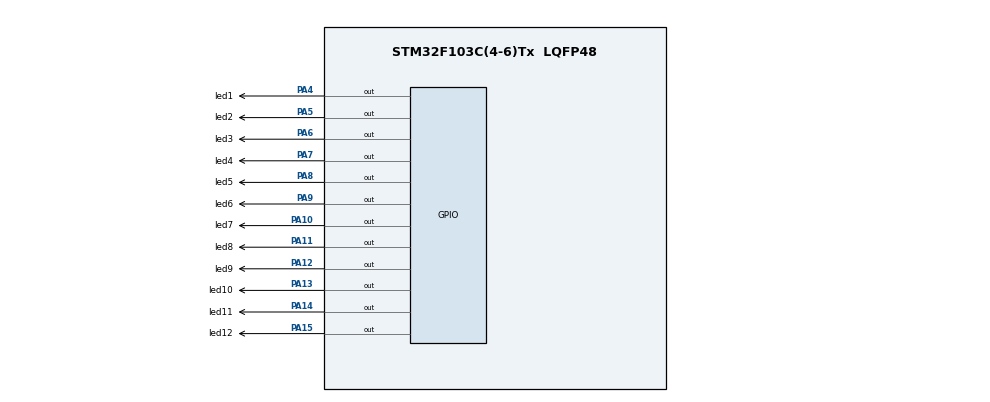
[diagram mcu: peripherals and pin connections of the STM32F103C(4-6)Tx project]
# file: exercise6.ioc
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Mcu.Family=STM32F1
Mcu.Name=STM32F103C(4-6)Tx
Mcu.Package=LQFP48
NVIC.PriorityGroup=NVIC_PRIORITYGROUP_4
PA10.GPIO_Label=led7
PA10.Signal=GPIO_Output
PA11.GPIO_Label=led8
PA11.Signal=GPIO_Output
PA12.GPIO_Label=led9
PA12.Signal=GPIO_Output
PA13.GPIO_Label=led10
PA13.Signal=GPIO_Output
PA14.GPIO_Label=led11
PA14.Signal=GPIO_Output
PA15.GPIO_Label=led12
PA15.Signal=GPIO_Output
PA4.GPIO_Label=led1
PA4.Signal=GPIO_Output
PA5.GPIO_Label=led2
PA5.Signal=GPIO_Output
PA6.GPIO_Label=led3
PA6.Signal=GPIO_Output
PA7.GPIO_Label=led4
PA7.Signal=GPIO_Output
PA8.GPIO_Label=led5
PA8.Signal=GPIO_Output
PA9.GPIO_Label=led6
PA9.Signal=GPIO_Output
ProjectManager.HeapSize=0x200
ProjectManager.StackSize=0x400
ProjectManager.TargetToolchain=STM32CubeIDE
RCC.APB1Freq_Value=8000000
RCC.APB2Freq_Value=8000000
board=custom

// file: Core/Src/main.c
/* USER CODE BEGIN Header */
/**
  ******************************************************************************
  * @file           : main.c
  * @brief          : Main program body
  ******************************************************************************
  * @attention
  *
  * Copyright (c) 2022 STMicroelectronics.
  * All rights reserved.
  *
  * This software is licensed under terms that can be found in the LICENSE file
  * in the root directory of this software component.
  * If no LICENSE file comes with this software, it is provided AS-IS.
  *
  ******************************************************************************
  */
/* USER CODE END Header */
#include "main.h"

void SystemClock_Config(void);
static void MX_GPIO_Init(void);

int main(void)
{

  /* MCU Configuration--------------------------------------------------------*/

  /* Reset of all peripherals, Initializes the Flash interface and the Systick. */
  HAL_Init();

  /* Configure the system clock */
  SystemClock_Config();

  /* Initialize all configured peripherals */
  MX_GPIO_Init();

  /* Infinite loop */
  /* USER CODE BEGIN WHILE */
  while (1)
  {
	  HAL_GPIO_WritePin(GPIOA, GPIO_PIN_4, 1);
	  HAL_Delay(1000);
	  HAL_GPIO_WritePin(GPIOA, GPIO_PIN_5, 1);
	  HAL_Delay(1000);
	  HAL_GPIO_WritePin(GPIOA, GPIO_PIN_6, 1);
	  HAL_Delay(1000);
	  HAL_GPIO_WritePin(GPIOA, GPIO_PIN_7, 1);
	  HAL_Delay(1000);
	  HAL_GPIO_WritePin(GPIOA, GPIO_PIN_8, 1);
	  HAL_Delay(1000);
	  HAL_GPIO_WritePin(GPIOA, GPIO_PIN_9, 1);
	  HAL_Delay(1000);
	  HAL_GPIO_WritePin(GPIOA, GPIO_PIN_10, 1);
	  HAL_Delay(1000);
	  HAL_GPIO_WritePin(GPIOA, GPIO_PIN_11, 1);
	  HAL_Delay(1000);
	  HAL_GPIO_WritePin(GPIOA, GPIO_PIN_12, 1);
	  HAL_Delay(1000);
	  HAL_GPIO_WritePin(GPIOA, GPIO_PIN_13, 1);
	  HAL_Delay(1000);
	  HAL_GPIO_WritePin(GPIOA, GPIO_PIN_14, 1);
	  HAL_Delay(1000);
	  HAL_GPIO_WritePin(GPIOA, GPIO_PIN_15, 1);
	  HAL_Delay(1000);
    /* USER CODE END WHILE */

  }
}

void SystemClock_Config(void)
{
  RCC_OscInitTypeDef RCC_OscInitStruct = {0};
  RCC_ClkInitTypeDef RCC_ClkInitStruct = {0};

  /** Initializes the RCC Oscillators according to the specified parameters
  * in the RCC_OscInitTypeDef structure.
  */
  RCC_OscInitStruct.OscillatorType = RCC_OSCILLATORTYPE_HSI;
  RCC_OscInitStruct.HSIState = RCC_HSI_ON;
  RCC_OscInitStruct.HSICalibrationValue = RCC_HSICALIBRATION_DEFAULT;
  RCC_OscInitStruct.PLL.PLLState = RCC_PLL_NONE;
  if (HAL_RCC_OscConfig(&RCC_OscInitStruct) != HAL_OK)
  {
    Error_Handler();
  }

  /** Initializes the CPU, AHB and APB buses clocks
  */
  RCC_ClkInitStruct.ClockType = RCC_CLOCKTYPE_HCLK|RCC_CLOCKTYPE_SYSCLK
                              |RCC_CLOCKTYPE_PCLK1|RCC_CLOCKTYPE_PCLK2;
  RCC_ClkInitStruct.SYSCLKSource = RCC_SYSCLKSOURCE_HSI;
  RCC_ClkInitStruct.AHBCLKDivider = RCC_SYSCLK_DIV1;
  RCC_ClkInitStruct.APB1CLKDivider = RCC_HCLK_DIV1;
  RCC_ClkInitStruct.APB2CLKDivider = RCC_HCLK_DIV1;

  if (HAL_RCC_ClockConfig(&RCC_ClkInitStruct, FLASH_LATENCY_0) != HAL_OK)
  {
    Error_Handler();
  }
}

static void MX_GPIO_Init(void)
{
  GPIO_InitTypeDef GPIO_InitStruct = {0};

  /* GPIO Ports Clock Enable */
  __HAL_RCC_GPIOA_CLK_ENABLE();

  /*Configure GPIO pin Output Level */
  HAL_GPIO_WritePin(GPIOA, led1_Pin|led2_Pin|led3_Pin|led4_Pin
                          |led5_Pin|led6_Pin|led7_Pin|led8_Pin
                          |led9_Pin|led10_Pin|led11_Pin|led12_Pin, GPIO_PIN_RESET);

  /*Configure GPIO pins : led1_Pin led2_Pin led3_Pin led4_Pin
                           led5_Pin led6_Pin led7_Pin led8_Pin
                           led9_Pin led10_Pin led11_Pin led12_Pin */
  GPIO_InitStruct.Pin = led1_Pin|led2_Pin|led3_Pin|led4_Pin
                          |led5_Pin|led6_Pin|led7_Pin|led8_Pin
                          |led9_Pin|led10_Pin|led11_Pin|led12_Pin;
  GPIO_InitStruct.Mode = GPIO_MODE_OUTPUT_PP;
  GPIO_InitStruct.Pull = GPIO_NOPULL;
  GPIO_InitStruct.Speed = GPIO_SPEED_FREQ_LOW;
  HAL_GPIO_Init(GPIOA, &GPIO_InitStruct);

}

void Error_Handler(void)
{
  __disable_irq();
  while (1)
  {
  }
}
